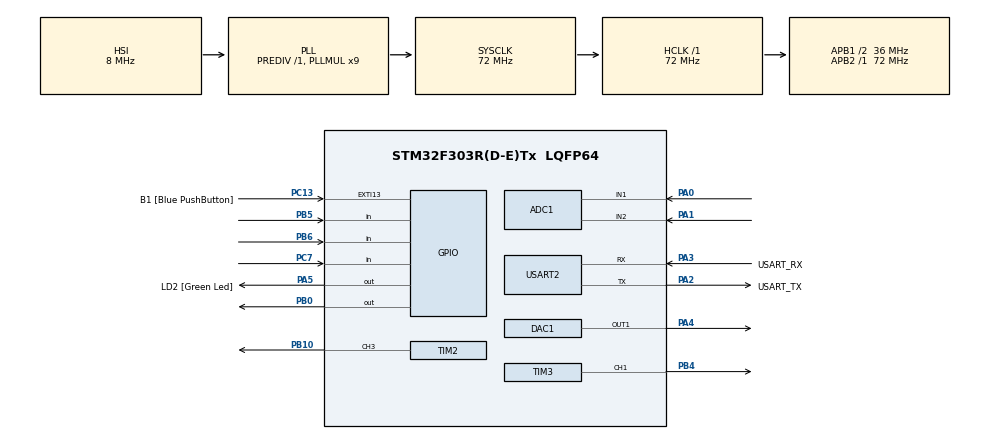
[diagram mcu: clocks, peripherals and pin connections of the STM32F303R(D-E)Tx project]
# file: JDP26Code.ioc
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ADC1.Channel-2\#ChannelRegularConversion=ADC_CHANNEL_1
ADC1.Channel-3\#ChannelRegularConversion=ADC_CHANNEL_2
ADC1.ContinuousConvMode=DISABLE
ADC1.DMAContinuousRequests=ENABLE
ADC1.ExternalTrigConv=ADC_EXTERNALTRIGCONV_T6_TRGO
ADC1.NbrOfConversion=2
ADC1.NbrOfConversionFlag=1
ADC1.Offset-2\#ChannelRegularConversion=0
ADC1.Offset-3\#ChannelRegularConversion=0
ADC1.OffsetNumber-2\#ChannelRegularConversion=ADC_OFFSET_NONE
ADC1.OffsetNumber-3\#ChannelRegularConversion=ADC_OFFSET_NONE
ADC1.Rank-2\#ChannelRegularConversion=1
ADC1.Rank-3\#ChannelRegularConversion=2
ADC1.SamplingTime-2\#ChannelRegularConversion=ADC_SAMPLETIME_19CYCLES_5
ADC1.SamplingTime-3\#ChannelRegularConversion=ADC_SAMPLETIME_19CYCLES_5
ADC1.SamplingTimeOPAMP-3\#ChannelRegularConversion=ADC_SAMPLETIME_61CYCLES_5
ADC1.master=1
Dma.ADC1.0.Direction=DMA_PERIPH_TO_MEMORY
Dma.ADC1.0.Instance=DMA1_Channel1
Dma.ADC1.0.MemDataAlignment=DMA_MDATAALIGN_HALFWORD
Dma.ADC1.0.MemInc=DMA_MINC_ENABLE
Dma.ADC1.0.Mode=DMA_CIRCULAR
Dma.ADC1.0.PeriphDataAlignment=DMA_PDATAALIGN_HALFWORD
Dma.ADC1.0.PeriphInc=DMA_PINC_DISABLE
Dma.ADC1.0.Priority=DMA_PRIORITY_HIGH
Dma.Request0=ADC1
Mcu.Family=STM32F3
Mcu.Name=STM32F303R(D-E)Tx
Mcu.Package=LQFP64
NVIC.DMA1_Channel1_IRQn=true\:0\:0\:false\:false\:true\:false\:true\:true
NVIC.PriorityGroup=NVIC_PRIORITYGROUP_0
NVIC.TIM6_DAC_IRQn=true\:0\:0\:false\:false\:true\:true\:true\:true
PA0.Mode=IN1-Single-Ended
PA0.Signal=ADC1_IN1
PA1.Mode=IN2-Single-Ended
PA1.Signal=ADC1_IN2
PA13.GPIO_Label=TMS
PA13.Mode=Serial_Wire
PA13.Signal=SYS_JTMS-SWDIO
PA14.GPIO_Label=TCK
PA14.Mode=Serial_Wire
PA14.Signal=SYS_JTCK-SWCLK
PA2.GPIO_Label=USART_TX
PA2.GPIO_Mode=GPIO_MODE_AF_PP
PA2.GPIO_PuPd=GPIO_NOPULL
PA2.GPIO_Speed=GPIO_SPEED_FREQ_LOW
PA2.Mode=Asynchronous
PA2.Signal=USART2_TX
PA3.GPIO_Label=USART_RX
PA3.GPIO_Mode=GPIO_MODE_AF_PP
PA3.GPIO_PuPd=GPIO_NOPULL
PA3.GPIO_Speed=GPIO_SPEED_FREQ_LOW
PA3.Mode=Asynchronous
PA3.Signal=USART2_RX
PA4.Signal=COMP_DAC11_group
PA5.GPIO_Label=LD2 [Green Led]
PA5.GPIO_Mode=GPIO_MODE_OUTPUT_PP
PA5.GPIO_PuPd=GPIO_NOPULL
PA5.GPIO_Speed=GPIO_SPEED_FREQ_LOW
PA5.Signal=GPIO_Output
PB0.Signal=GPIO_Output
PB10.Signal=S_TIM2_CH3
PB3.GPIO_Label=SWO
PB3.Signal=SYS_JTDO-TRACESWO
PB4.Signal=S_TIM3_CH1
PB5.GPIO_PuPd=GPIO_PULLUP
PB5.Signal=GPIO_Input
PB6.GPIO_PuPd=GPIO_PULLUP
PB6.Signal=GPIO_Input
PC13.GPIO_Label=B1 [Blue PushButton]
PC13.GPIO_ModeDefaultEXTI=GPIO_MODE_IT_FALLING
PC13.Signal=GPXTI13
PC14-OSC32_IN.Mode=LSE-External-Oscillator
PC14-OSC32_IN.Signal=RCC_OSC32_IN
PC15-OSC32_OUT.Mode=LSE-External-Oscillator
PC15-OSC32_OUT.Signal=RCC_OSC32_OUT
PC7.GPIO_PuPd=GPIO_PULLUP
PC7.Signal=GPIO_Input
PF0-OSC_IN.Mode=HSE-External-Clock-Source
PF0-OSC_IN.Signal=RCC_OSC_IN
PF1-OSC_OUT.Signal=RCC_OSC_OUT
ProjectManager.HeapSize=0x200
ProjectManager.StackSize=0x400
ProjectManager.TargetToolchain=CMake
RCC.AHBFreq_Value=72000000
RCC.APB1CLKDivider=RCC_HCLK_DIV2
RCC.APB1Freq_Value=36000000
RCC.APB1TimFreq_Value=72000000
RCC.APB2Freq_Value=72000000
RCC.APB2TimFreq_Value=72000000
RCC.CortexFreq_Value=72000000
RCC.HCLKFreq_Value=72000000
RCC.HSE_VALUE=8000000
RCC.HSI_VALUE=8000000
RCC.PLLM=8
RCC.PLLMUL=RCC_PLL_MUL9
RCC.PLLN=336
RCC.PLLP=RCC_PLLP_DIV4
RCC.PLLQ=7
RCC.RCC_PLLsource_Clock_Source_FROM_HSE=RCC_HSE_PREDIV_DIV2
RCC.SYSCLKFreq_VALUE=72000000
RCC.SYSCLKSourceVirtual=RCC_SYSCLKSOURCE_PLLCLK
RCC.USBFreq_Value=72000000
SH.COMP_DAC11_group.0=DAC1_OUT1,DAC_OUT1
SH.S_TIM2_CH3.0=TIM2_CH3,PWM Generation3 CH3
SH.S_TIM3_CH1.0=TIM3_CH1,PWM Generation1 CH1
TIM2.Channel-PWM\ Generation3\ CH3=TIM_CHANNEL_3
TIM2.Period=4095
TIM2.Pulse-PWM\ Generation3\ CH3=2630
TIM3.Channel-PWM\ Generation1\ CH1=TIM_CHANNEL_1
TIM3.Period=4095
TIM3.Pulse-PWM\ Generation1\ CH1=2475
TIM6.Period=1632
TIM6.TIM_MasterOutputTrigger=TIM_TRGO_UPDATE
USART2.VirtualMode-Asynchronous=VM_ASYNC
VP_TIM6_VS_ClockSourceINT.Mode=Enable_Timer
board=NUCLEO-F303RE

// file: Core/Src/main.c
/******************************************************************************
* Project: JDP26 DIY DJ Deck
* File: main.c
*
* Student Name: Nick Vaughan, Colin Medeiros
* Team Members: Nick Vaughan, Colin Medeiros
*
* Course: ECE 304 – Junior Design Project (JDP26)
* Instructor: Prof. Baird Soules
*
* Date: May 6, 2026
*
* Description:
* This program runs on a NUCLEO STM32F303RE microcontroller, utilizing its ADC, DAC, timers, USART, and GPIO to mix audio from microphone and aux inputs.
* It reads audio from both of these inputs using ADC with DMA, mixes them together, and outputs the result through the DAC.
* The mixing can be controlled through a rotary encoder that adjusts the duty cycle of two PWM signals, and there is a knife switch that allows for a software mute when closed.
*
* Hardware:
* - Microcontroller: Nucleo STM32F303RE
* - Key components: SparkFun Electret Microphone Breakout, Adafruit PAM8302A 2.5W Class D Amplifier, 4Ω 3W Speaker, 10kΩ potentiometer,
* 20-step rotary encoder, SPST knife switch, BESIGN Isolation Transformer, Sallen-Key LPF with octocouplers
*
* Notes:
* The code for ADC, DAC, DMA, timers, USART, and GPIO initialization is generated by STM32CubeMX, all functions generated by CubeMX are marked as so.
* Github Repository with all needed files: https://github.com/nrvaughan/JDP26_FinalProj_CM_NV

  * Copyright (c) 2026 STMicroelectronics.
  * All rights reserved.
******************************************************************************/

#include "main.h"
#include "adc.h"
#include "dac.h"
#include "dma.h"
#include "tim.h"
#include "usart.h"
#include "gpio.h"

/* USER CODE BEGIN PV */
#define ADC_BUF_LEN 512
#define ADC_MID     2048

uint16_t adcBuffer[ADC_BUF_LEN];
volatile uint8_t adcHalfReady = 0;
volatile uint8_t adcFullReady = 0;
volatile uint32_t halfCount = 0;
volatile uint32_t fullCount = 0;

int pwm1Dutys[16] = {39, 44, 50, 59, 71, 88, 112, 147, 195, 270, 372, 525, 750, 1100, 1625, 2475};
int pwm2Dutys[16] = {55, 60, 67, 76, 90, 108, 134, 172, 225, 302, 417, 585, 830, 1200, 1749, 2630};

int freqInd = 7;

/* USER CODE END PV */

void SystemClock_Config(void);

int main(void)
{

  /* MCU Configuration--------------------------------------------------------*/

  /* Reset of all peripherals, Initializes the Flash interface and the Systick. */
  HAL_Init();

  /* Configure the system clock */
  SystemClock_Config();

  /* Initialize all configured peripherals */
  MX_GPIO_Init();
  MX_DMA_Init();
  MX_ADC1_Init();
  MX_DAC1_Init();
  MX_TIM6_Init();
  MX_USART2_UART_Init();
  MX_TIM2_Init();
  MX_TIM3_Init();
  /* USER CODE BEGIN 2 */

    /* Encoder/PWMs */
  HAL_GPIO_WritePin(GPIOB, GPIO_PIN_0, GPIO_PIN_SET);
  HAL_TIM_PWM_Start(&htim3, TIM_CHANNEL_1);  // PB4, PWM1
  __HAL_TIM_SET_COMPARE(&htim3, TIM_CHANNEL_1, 2475);
  HAL_TIM_PWM_Start(&htim2, TIM_CHANNEL_3);  // PB10, PWM2
  __HAL_TIM_SET_COMPARE(&htim2, TIM_CHANNEL_3, 2630);

  /* ADC + DAC Startup */
  HAL_DAC_Start(&hdac1, DAC_CHANNEL_1);
  HAL_ADCEx_Calibration_Start(&hadc1, ADC_SINGLE_ENDED);
  HAL_ADC_Start_DMA(&hadc1, (uint32_t*)adcBuffer, ADC_BUF_LEN);
  HAL_TIM_Base_Start_IT(&htim6);

  /* USER CODE END 2 */

  /* Infinite loop */
  /* USER CODE BEGIN WHILE */

while (1) /* this loop handles chaning PWM via rotary encoder */
{
  static uint8_t lastA = 0;
  static uint8_t initialized = 0;
  static uint32_t lastStepTime = 0; // all for determining encoder state and debouncing

  // Read encoder pins, active high with pull-downs, so SET means 1, RESET means 0
  uint8_t A = (HAL_GPIO_ReadPin(GPIOC, GPIO_PIN_7) == GPIO_PIN_SET) ? 1 : 0;
  uint8_t B = (HAL_GPIO_ReadPin(GPIOB, GPIO_PIN_6) == GPIO_PIN_SET) ? 1 : 0;

  if (!initialized)
  {
    lastA = A; // initialize lastA to current state to avoid false step detection on startup
    initialized = 1;
  }

  if ((HAL_GetTick() - lastStepTime) > 50) // debounce
  {
    if ((lastA == 0) && (A == 1)) // detect rising edge on A
    {
      lastStepTime = HAL_GetTick();

      if (B == 0) // determines CW vs CCW based on state of B when A rises
      {
        if (freqInd < 15) freqInd++; //increase
      }
      else
      {
        if (freqInd > 0) freqInd--; //decrease
      }

      __HAL_TIM_SET_COMPARE(&htim3, TIM_CHANNEL_1, pwm1Dutys[freqInd]);
      __HAL_TIM_SET_COMPARE(&htim2, TIM_CHANNEL_3, pwm2Dutys[freqInd]); // update PWM duty cycles based on new index
    }
  }

  lastA = A;
}

    /* USER CODE END WHILE */

}

void SystemClock_Config(void) // Generated by CubeMX, sets up system clock
{
  RCC_OscInitTypeDef RCC_OscInitStruct = {0};
  RCC_ClkInitTypeDef RCC_ClkInitStruct = {0};
  RCC_PeriphCLKInitTypeDef PeriphClkInit = {0};

  /** Initializes the RCC Oscillators according to the specified parameters
  * in the RCC_OscInitTypeDef structure.
  */
  RCC_OscInitStruct.OscillatorType = RCC_OSCILLATORTYPE_HSI;
  RCC_OscInitStruct.HSIState = RCC_HSI_ON;
  RCC_OscInitStruct.HSICalibrationValue = RCC_HSICALIBRATION_DEFAULT;
  RCC_OscInitStruct.PLL.PLLState = RCC_PLL_ON;
  RCC_OscInitStruct.PLL.PLLSource = RCC_PLLSOURCE_HSI;
  RCC_OscInitStruct.PLL.PLLMUL = RCC_PLL_MUL9;
  RCC_OscInitStruct.PLL.PREDIV = RCC_PREDIV_DIV1;
  if (HAL_RCC_OscConfig(&RCC_OscInitStruct) != HAL_OK)
  {
    Error_Handler();
  }

  /** Initializes the CPU, AHB and APB buses clocks
  */
  RCC_ClkInitStruct.ClockType = RCC_CLOCKTYPE_HCLK|RCC_CLOCKTYPE_SYSCLK
                              |RCC_CLOCKTYPE_PCLK1|RCC_CLOCKTYPE_PCLK2;
  RCC_ClkInitStruct.SYSCLKSource = RCC_SYSCLKSOURCE_PLLCLK;
  RCC_ClkInitStruct.AHBCLKDivider = RCC_SYSCLK_DIV1;
  RCC_ClkInitStruct.APB1CLKDivider = RCC_HCLK_DIV2;
  RCC_ClkInitStruct.APB2CLKDivider = RCC_HCLK_DIV1;

  if (HAL_RCC_ClockConfig(&RCC_ClkInitStruct, FLASH_LATENCY_2) != HAL_OK)
  {
    Error_Handler();
  }
  PeriphClkInit.PeriphClockSelection = RCC_PERIPHCLK_USART2|RCC_PERIPHCLK_ADC12
                              |RCC_PERIPHCLK_TIM2|RCC_PERIPHCLK_TIM34;
  PeriphClkInit.Usart2ClockSelection = RCC_USART2CLKSOURCE_PCLK1;
  PeriphClkInit.Adc12ClockSelection = RCC_ADC12PLLCLK_DIV1;
  PeriphClkInit.Tim2ClockSelection = RCC_TIM2CLK_HCLK;
  PeriphClkInit.Tim34ClockSelection = RCC_TIM34CLK_HCLK;
  if (HAL_RCCEx_PeriphCLKConfig(&PeriphClkInit) != HAL_OK)
  {
    Error_Handler();
  }
}

/* USER CODE BEGIN 4 */

void HAL_ADC_ConvHalfCpltCallback(ADC_HandleTypeDef* hadc) // This callback is called when the ADC DMA has filled the first half of the buffer, since we use two channels it leaves time to get both aux + mic samples before mixing
{
  if (hadc->Instance == ADC1)
  {
    halfCount++; // debugging
    adcHalfReady = 1;
  }
}

void HAL_ADC_ConvCpltCallback(ADC_HandleTypeDef* hadc) // Same as above, but the second half
{
  if (hadc->Instance == ADC1)
  {
    fullCount++; // debugging
    adcFullReady = 1;
  }
}

void HAL_TIM_PeriodElapsedCallback(TIM_HandleTypeDef *htim) // The main audio processing happens in this timer function
{
  if (htim->Instance == TIM6) // 44.1kHz timer set up in CubeMX
  {

    if (HAL_GPIO_ReadPin(GPIOB, GPIO_PIN_5) == GPIO_PIN_RESET) //knife switch, if closed, software mute by outputting DC offset only
    {
  // Knife switch active: mute audio in software
      HAL_DAC_SetValue(&hdac1, DAC_CHANNEL_1, DAC_ALIGN_12B_R, 2048);
      return;
    }

    uint32_t dmaRemaining = __HAL_DMA_GET_COUNTER(hadc1.DMA_Handle); // Determine where in ADC buffer we are writing at, to not overwrite unread samples
    uint32_t writeIndex = ADC_BUF_LEN - dmaRemaining; // Tells us the index of the most recent sample

    if (writeIndex >= ADC_BUF_LEN) // Once it hits 512, it wraps back to 0
    {
      writeIndex = 0;
    }

    uint32_t readIndex; // We want to read the sample that was just fully written, which is 2 samples (mic + aux) behind the current write index

    if (writeIndex >= 2)
    {
      readIndex = writeIndex - 2; // Read the sample that was just fully written
    }
    else
    {
      readIndex = ADC_BUF_LEN - 2;
    }

    // Ensure readIndex points to mic sample, even index
    if (readIndex % 2 != 0)
    {
      readIndex--; // ALWAYS starts with mic sample, just in case
    }

    uint16_t micRaw = adcBuffer[readIndex];       // PA0
    uint16_t auxRaw = adcBuffer[readIndex + 1];   // PA1

    int32_t micAC = (int32_t)micRaw - 2056; // removing DC offsets
    int32_t auxAC = (int32_t)auxRaw - 2033;

    // mic + aux gain
    int32_t micScaled = micAC;
    int32_t auxScaled = auxAC / 4;

    int32_t mixedAC = micScaled + auxScaled;
    int32_t dacOut = 2048 + mixedAC; // adding back DC offset for output

    if (dacOut < 0) dacOut = 0;
    if (dacOut > 4095) dacOut = 4095; // clipping

    HAL_DAC_SetValue(&hdac1, DAC_CHANNEL_1, DAC_ALIGN_12B_R, (uint32_t)dacOut); // DAC Output on PA4
  }
}

/* USER CODE END 4 */

void Error_Handler(void) // Generated by CubeMX, called on error
{
  __disable_irq();
  while (1)
  {
  }
}
